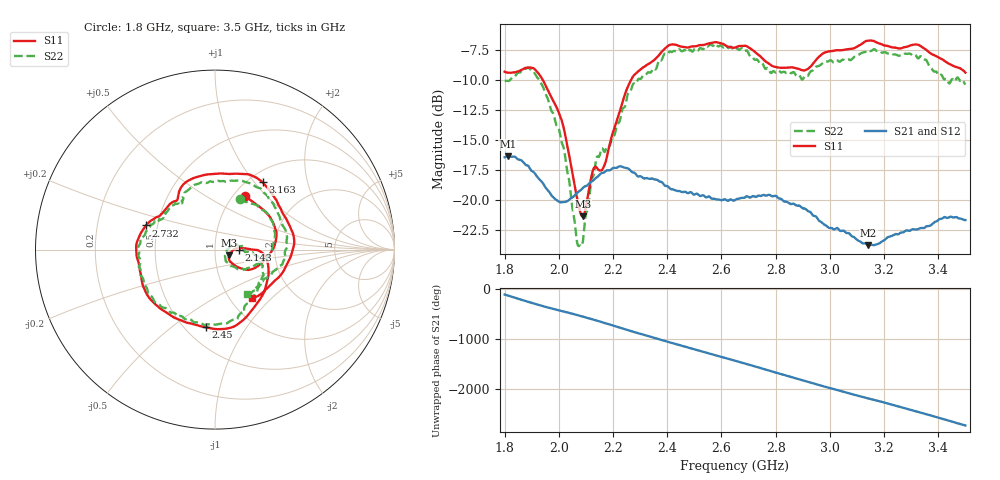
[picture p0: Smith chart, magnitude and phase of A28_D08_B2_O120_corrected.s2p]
! Created with skrf 1.9.0 (http://scikit-rf.org).
# Hz S RI R 50.0
!freq ReS11 ImS11 ReS21 ImS21 ReS12 ImS12 ReS22 ImS22
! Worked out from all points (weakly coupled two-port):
!   1601 points, 1.8 GHz to 3.5 GHz, reference 50 ohm
!   highest |S21| = -16.34 dB at 1.812 GHz (marker M1); lowest = -23.8 dB at 3.142 GHz (marker M2)
!   lowest |S11| = -21.4 dB at 2.088 GHz (marker M3), VSWR 1.19, Z = 58.5 - j3.7 ohm
!   |S11| at or under -10 dB: 1.941 GHz to 2.266 GHz (325 MHz wide, 15.5 % of centre)
!   |S22| runs from -23.8 to -7.0 dB; largest |S21 - S12| = 0.003
!   S11 on the Smith chart (normalised r, x): 1.8 GHz: 1.12, +0.76; 2.143 GHz: 1.31, +0.00; 2.45 GHz: 0.63, -0.67; 2.732 GHz: 0.43, +0.14; 3.163 GHz: 1.16, +1.10; 3.5 GHz: 1.27, -0.77
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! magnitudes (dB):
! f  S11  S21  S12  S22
! 1.8 GHz  -9.3  -16.4  -16.4  -10.1
! 1.812 GHz  -9.4  -16.3  -16.3  -10.1
! 1.887 GHz  -9.0  -17.1  -17.2  -9.0
! 1.941 GHz  -10.0  -18.6  -18.6  -10.6
! 2.013 GHz  -13.5  -20.2  -20.2  -15.3
! 2.067 GHz  -19.8  -19.4  -19.4  -23.4
! 2.084 GHz  -21.3  -19.1  -19.1  -23.8
! 2.088 GHz  -21.4  -19.0  -19.0  -23.5
! 2.125 GHz  -17.6  -18.4  -18.4  -18.1
! 2.143 GHz  -17.4  -18.0  -18.0  -16.4
! 2.169 GHz  -17.1  -17.7  -17.7  -16.0
! 2.266 GHz  -10.0  -17.6  -17.6  -10.8
! 2.367 GHz  -8.0  -18.4  -18.3  -8.5
! 2.45 GHz  -7.2  -19.3  -19.3  -7.6
! 2.65 GHz  -7.3  -20.0  -20.0  -7.5
! 2.732 GHz  -7.8  -19.7  -19.7  -8.3
! 2.934 GHz  -8.8  -21.2  -21.1  -9.2
! 3.142 GHz  -6.7  -23.8  -23.7  -7.5
! 3.163 GHz  -6.8  -23.7  -23.7  -7.4
! 3.217 GHz  -7.2  -23.1  -23.0  -7.8
! 3.327 GHz  -7.1  -22.4  -22.4  -8.2
! 3.5 GHz  -9.4  -21.7  -21.7  -10.4
